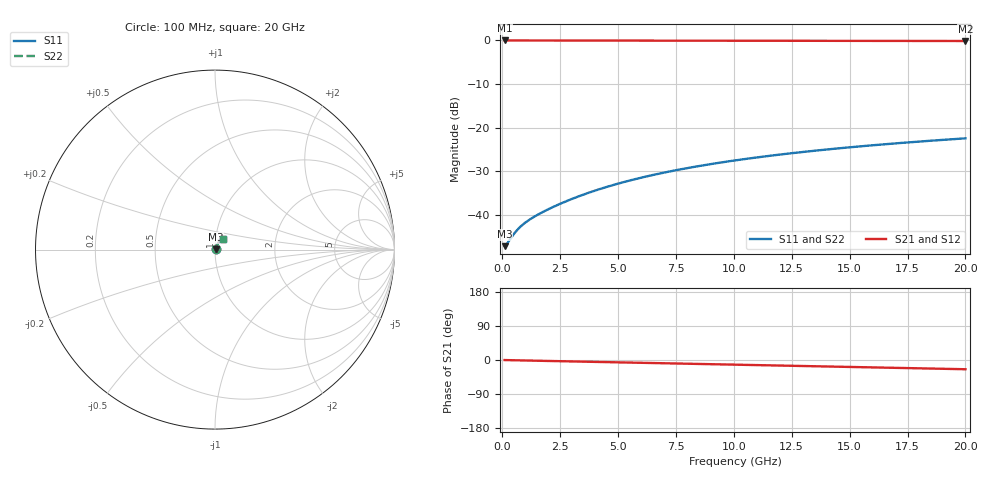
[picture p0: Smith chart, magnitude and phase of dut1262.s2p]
! Touchstone file exported from HFSS 2026.1.0
!  File:  C:/ffzhzh/LocalFiles/Ansys_Project_Files/temp_train_BSMRDL_1262_1783177525_18472.aedt
!  Generated:  11:06:31 PM Jul  4, 2026
!  Design:  BSMRDL
!  Project:  temp_train_BSMRDL_1262_1783177525_18472
! Variables:
!  h_bsmrdl = 2.48um
!  h_ox = 20um
!  h_rdl = 5um
!  h_sub = 80um
!  h_tmrdl = 5um
!  h_tsv = 80um
!  h_via = 3um
!  l_bsmrdl = 427.82um
!  l_sub = 827.82um
!  l_tmrdl = 200um
!  m_sub = 200um
!  pitch = 19.15um
!  r_tsv = 6um
!  s_tmrdl = 10um
!  w_bsmrdl = 14.9um
!  w_sub = 500um
!  w_tmrdl = 12um
!  x_tsv_center1 = 206um
!  x_tsv_center2 = 648.72um
!  x_tsv_center3 = 860.72um
!  x_tsv_center4 = 1303.44um
!  x_tsv_center5 = 1515.44um
!  x_tsv_center6 = 1958.16um
# GHz S MA R 50.000000
! Terminal data exported
! Port[1] = BSM_RDL1_1_T1
! Port[2] = BSM_RDL1_1_T2
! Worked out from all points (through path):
!   200 points, 100 MHz to 20 GHz, reference 50 ohm
!   highest |S21| = -0.04 dB at 100 MHz (marker M1); lowest = -0.2 dB at 20 GHz (marker M2)
!   group delay of S21, straight-line fit = 3.38 ps
!   lowest |S11| = -47.2 dB at 100 MHz (marker M3), VSWR 1.01, Z = 50.4 + j0.0763 ohm
!   |S11| at or under -10 dB: start of sweep to end of sweep
!   |S22| runs from -47.2 to -22.5 dB; largest |S21 - S12| = 4.3e-15
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0.1  0.00439 9.9  0.9957 -0.1  0.9957 -0.1  0.00439 9.9
! Gamma 0 0 0 0
! Port Impedance 50 0 50 0
0.2  0.00468 18.5  0.9956 -0.3  0.9956 -0.3  0.00468 18.5
0.5  0.00605 33.5  0.9949 -0.7  0.9949 -0.7  0.006052 33.5
0.7  0.006977 38.1  0.9945 -0.9  0.9945 -0.9  0.006979 38.1
0.9  0.007809 41.2  0.9942 -1.2  0.9942 -1.2  0.007811 41.2
1.2  0.008923 44.7  0.9938 -1.6  0.9938 -1.6  0.008924 44.7
1.6  0.0103 48.7  0.9934 -2.1  0.9934 -2.1  0.0103 48.7
2.2  0.01236 53.5  0.9931 -2.8  0.9931 -2.8  0.01236 53.5
2.8  0.0145 57.2  0.9928 -3.5  0.9928 -3.5  0.0145 57.2
3.5  0.01709 60.1  0.9925 -4.4  0.9925 -4.4  0.01709 60.1
4.2  0.01975 62.1  0.9922 -5.3  0.9922 -5.3  0.01975 62.1
5  0.02284 63.5  0.9918 -6.2  0.9918 -6.2  0.02284 63.5
5.9  0.02634 64.3  0.9914 -7.4  0.9914 -7.4  0.02633 64.3
6.8  0.02982 64.6  0.9909 -8.5  0.9909 -8.5  0.02982 64.6
7.6  0.0329 64.5  0.9904 -9.4  0.9904 -9.4  0.0329 64.5
8.4  0.03595 64.2  0.9899 -10.4  0.9899 -10.4  0.03595 64.3
10.1  0.04231 63.3  0.9887 -12.5  0.9887 -12.5  0.0423 63.3
11.7  0.04811 62.0  0.9875 -14.4  0.9875 -14.4  0.04811 62.0
13.4  0.05408 60.4  0.9863 -16.5  0.9863 -16.5  0.05407 60.5
15  0.05951 58.9  0.9851 -18.4  0.9851 -18.4  0.0595 58.9
16.7  0.06509 57.2  0.9838 -20.4  0.9838 -20.4  0.06508 57.2
20  0.07539 53.7  0.9814 -24.4  0.9814 -24.4  0.07538 53.8
